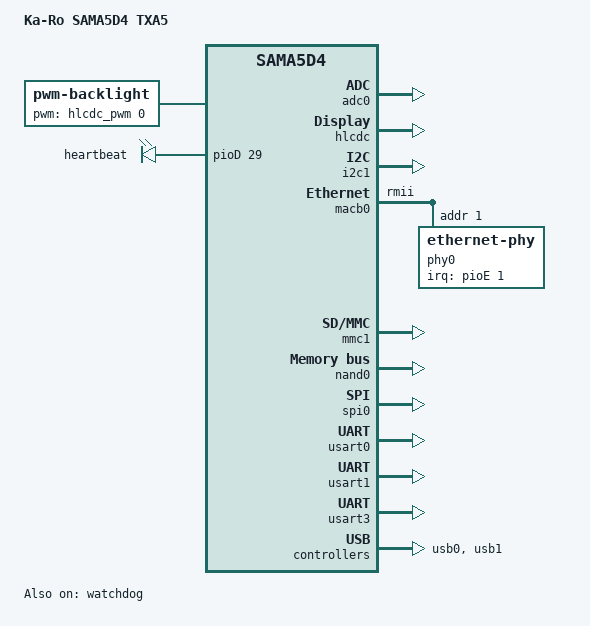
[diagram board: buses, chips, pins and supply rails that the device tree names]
/*
 * at91-sama5d4-txa5.dts - Device Tree file for Ka-Ro electronics TXA5 module
 *
 *  Copyright (C) 2015 Lothar Waßmann <LW@KARO-electronics.de>
 *  based on: at91-sama5d4_xplained.dts
 *            Copyright (C) 2015 Atmel,
 *                          2015 Josh Wu <josh.wu@atmel.com>
 *
 * This file is dual-licensed: you can use it either under the terms
 * of the GPL or the X11 license, at your option. Note that this dual
 * licensing only applies to this file, and not this project as a
 * whole.
 *
 *  a) This file is free software; you can redistribute it and/or
 *     modify it under the terms of the GNU General Public License as
 *     published by the Free Software Foundation; either version 2 of the
 *     License, or (at your option) any later version.
 *
 *     This file is distributed in the hope that it will be useful,
 *     but WITHOUT ANY WARRANTY; without even the implied warranty of
 *     MERCHANTABILITY or FITNESS FOR A PARTICULAR PURPOSE.  See the
 *     GNU General Public License for more details.
 *
 * Or, alternatively,
 *
 *  b) Permission is hereby granted, free of charge, to any person
 *     obtaining a copy of this software and associated documentation
 *     files (the "Software"), to deal in the Software without
 *     restriction, including without limitation the rights to use,
 *     copy, modify, merge, publish, distribute, sublicense, and/or
 *     sell copies of the Software, and to permit persons to whom the
 *     Software is furnished to do so, subject to the following
 *     conditions:
 *
 *     The above copyright notice and this permission notice shall be
 *     included in all copies or substantial portions of the Software.
 *
 *     THE SOFTWARE IS PROVIDED "AS IS", WITHOUT WARRANTY OF ANY KIND,
 *     EXPRESS OR IMPLIED, INCLUDING BUT NOT LIMITED TO THE WARRANTIES
 *     OF MERCHANTABILITY, FITNESS FOR A PARTICULAR PURPOSE AND
 *     NONINFRINGEMENT. IN NO EVENT SHALL THE AUTHORS OR COPYRIGHT
 *     HOLDERS BE LIABLE FOR ANY CLAIM, DAMAGES OR OTHER LIABILITY,
 *     WHETHER IN AN ACTION OF CONTRACT, TORT OR OTHERWISE, ARISING
 *     FROM, OUT OF OR IN CONNECTION WITH THE SOFTWARE OR THE USE OR
 *     OTHER DEALINGS IN THE SOFTWARE.
 */
/dts-v1/;
#include "sama5d4.dtsi"
#include <dt-bindings/input/input.h>
#include <dt-bindings/pwm/pwm.h>

/ {
	model = "Ka-Ro SAMA5D4 TXA5";
	compatible = "atmel,sama5d4-txa5", "atmel,sama5d4", "atmel,sama5";

	aliases {
		display = &display;
		ethernet0 = &macb0;
		serial0 = &usart0;
		serial1 = &usart1;
		serial2 = &usart3;
		spi0 = &spi0;
	};

	clocks {
		#address-cells = <1>;
		#size-cells = <1>;
		ranges;

		main_clock: clock@0 {
			compatible = "atmel,osc", "fixed-clock";
			clock-frequency = <12000000>;
		};
	};

	backlight: backlight {
		compatible = "pwm-backlight";
		pwms = <&hlcdc_pwm 0 500000 PWM_POLARITY_INVERTED>;
	};

	display: display {
		display-timings {
		};
	};

	leds {
		compatible = "gpio-leds";
		status = "okay";

		heartbeat {
			label = "heartbeat";
			gpios = <&pioD 29 GPIO_ACTIVE_HIGH>;
			linux,default-trigger = "heartbeat";
		};
	};
};

&adc0 {
	atmel,adc-vref = <3300>;
	status = "okay";
};

&hlcdc {
	pinctrl-names = "default";
	pinctrl-0 = <&pinctrl_lcd_rgb888>;
	status = "okay";
};

&i2c1 {
	status = "okay";
};

&macb0 {
	phy-mode = "rmii";
	status = "okay";

	phy0: ethernet-phy@1 {
		interrupt-parent = <&pioE>;
		interrupts = <1 IRQ_TYPE_EDGE_FALLING>;
		reg = <1>;
	};
};

&main_xtal {
	clock-frequency = <12000000>;
};

&mmc1 {
	pinctrl-names = "default";
	pinctrl-0 = <&pinctrl_mmc1_clk_cmd_dat0 &pinctrl_mmc1_dat1_3 &pinctrl_mmc1_cd>;
	status = "okay";
	slot@0 {
		reg = <0>;
		bus-width = <4>;
		cd-gpios = <&pioE 3 0>;
	};
};

&nand0 {
	nand-bus-width = <8>;
	nand-ecc-mode = "hw";
	nand-on-flash-bbt;
	atmel,has-pmecc;
	status = "okay";
};

&pinctrl {
	sama5d4-txa5 {
		pinctrl_mmc1_cd: mmc1-cd {
			atmel,pins = <AT91_PIOE 6 AT91_PERIPH_GPIO AT91_PINCTRL_PULL_UP_DEGLITCH>;
		};

		pinctrl_spi0_cs: spi0 {
			atmel,pins = <
				AT91_PIOB 21 AT91_PERIPH_GPIO 0					/* CSPI_SS0 */
				AT91_PIOB 22 AT91_PERIPH_GPIO 0					/* CSPI_SS1 */
				AT91_PIOB 23 AT91_PERIPH_GPIO 0					/* CSPI_RDY */
			>;
		};

		pinctrl_usba_vbus: usba-vbus {
			atmel,pins = <
				AT91_PIOE 10 AT91_PERIPH_GPIO 0					/* USBOTG_VBUSEN */
				AT91_PIOD 8 AT91_PERIPH_GPIO AT91_PINCTRL_PULL_UP_DEGLITCH	/* USBOTG_OC */
			>;
		};

		pinctrl_usbb_vbus: usbb-vbus {
			atmel,pins = <
				AT91_PIOE 11 AT91_PERIPH_GPIO 0					/* USBH_VBUSEN */
				AT91_PIOD 9 AT91_PERIPH_GPIO AT91_PINCTRL_PULL_UP_DEGLITCH	/* USBH_OC */
			>;
		};
	};
};

&slow_xtal {
	clock-frequency = <32768>;
};

&spi0 {
	cs-gpios = <&pioB 21 0>, <&pioB 22 0>, <0>, <0>;
	pinctrl-names = "default";
	pinctrl-0 = <&pinctrl_spi0 &pinctrl_spi0_cs>;
	status = "okay";
};

&usart0 {
	status = "okay";
};

&usart1 {
	status = "okay";
};

&usart3 {
	status = "okay";
};

&usb0 {
	atmel,vbus-gpio = <&pioE 10 GPIO_ACTIVE_HIGH>;
	pinctrl-names = "default";
	pinctrl-0 = <&pinctrl_usba_vbus>;
	status = "okay";
};

&usb1 {
	num-ports = <1>;
	atmel,vbus-gpio = <&pioE 11 GPIO_ACTIVE_HIGH>;
	pinctrl-names = "default";
	pinctrl-0 = <&pinctrl_usbb_vbus>;
	status = "okay";
};

&watchdog {
	status = "okay";
};
